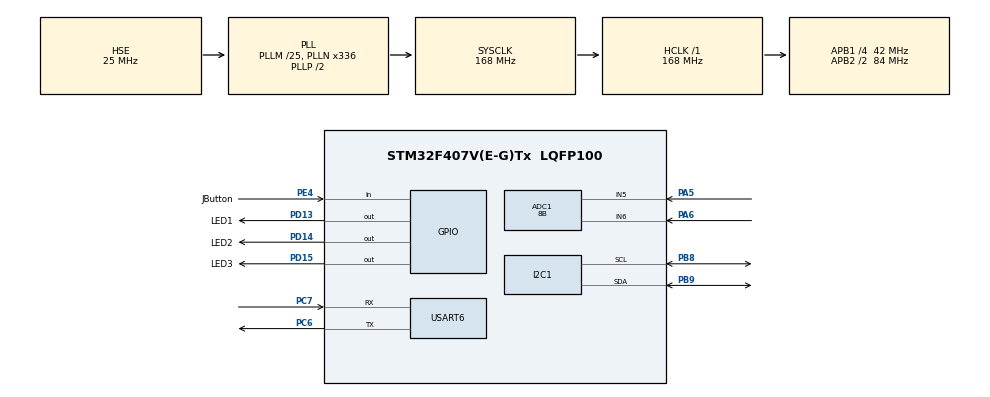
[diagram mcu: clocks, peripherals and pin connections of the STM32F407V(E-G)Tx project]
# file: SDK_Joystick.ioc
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ADC1.Channel-5\#ChannelRegularConversion=ADC_CHANNEL_5
ADC1.Channel-6\#ChannelRegularConversion=ADC_CHANNEL_6
ADC1.ContinuousConvMode=ENABLE
ADC1.DMAContinuousRequests=ENABLE
ADC1.NbrOfConversion=2
ADC1.NbrOfConversionFlag=1
ADC1.Rank-5\#ChannelRegularConversion=1
ADC1.Rank-6\#ChannelRegularConversion=2
ADC1.Resolution=ADC_RESOLUTION_8B
ADC1.SamplingTime-5\#ChannelRegularConversion=ADC_SAMPLETIME_480CYCLES
ADC1.SamplingTime-6\#ChannelRegularConversion=ADC_SAMPLETIME_480CYCLES
ADC1.ScanConvMode=ENABLE
ADC1.master=1
Dma.ADC1.0.Direction=DMA_PERIPH_TO_MEMORY
Dma.ADC1.0.FIFOMode=DMA_FIFOMODE_DISABLE
Dma.ADC1.0.Instance=DMA2_Stream0
Dma.ADC1.0.MemDataAlignment=DMA_MDATAALIGN_WORD
Dma.ADC1.0.MemInc=DMA_MINC_ENABLE
Dma.ADC1.0.Mode=DMA_CIRCULAR
Dma.ADC1.0.PeriphDataAlignment=DMA_PDATAALIGN_WORD
Dma.ADC1.0.PeriphInc=DMA_PINC_DISABLE
Dma.ADC1.0.Priority=DMA_PRIORITY_LOW
Dma.Request0=ADC1
I2C1.I2C_Mode=I2C_Fast
Mcu.Family=STM32F4
Mcu.Name=STM32F407V(E-G)Tx
Mcu.Package=LQFP100
NVIC.DMA2_Stream0_IRQn=true\:0\:0\:false\:false\:true\:false\:true
NVIC.PriorityGroup=NVIC_PRIORITYGROUP_4
PA13.Mode=JTAG_5_pins
PA13.Signal=SYS_JTMS-SWDIO
PA14.Mode=JTAG_5_pins
PA14.Signal=SYS_JTCK-SWCLK
PA15.Mode=JTAG_5_pins
PA15.Signal=SYS_JTDI
PA5.Signal=ADCx_IN5
PA6.Signal=ADCx_IN6
PB3.Mode=JTAG_5_pins
PB3.Signal=SYS_JTDO-SWO
PB4.Mode=JTAG_5_pins
PB4.Signal=SYS_JTRST
PB8.Mode=I2C
PB8.Signal=I2C1_SCL
PB9.Mode=I2C
PB9.Signal=I2C1_SDA
PC6.Mode=Asynchronous
PC6.Signal=USART6_TX
PC7.Mode=Asynchronous
PC7.Signal=USART6_RX
PD13.GPIO_Label=LED1
PD13.Signal=GPIO_Output
PD14.GPIO_Label=LED2
PD14.Signal=GPIO_Output
PD15.GPIO_Label=LED3
PD15.Signal=GPIO_Output
PE4.GPIO_Label=JButton
PE4.Signal=GPIO_Input
PH0-OSC_IN.Mode=HSE-External-Oscillator
PH0-OSC_IN.Signal=RCC_OSC_IN
PH1-OSC_OUT.Mode=HSE-External-Oscillator
PH1-OSC_OUT.Signal=RCC_OSC_OUT
ProjectManager.HeapSize=0x200
ProjectManager.StackSize=0x400
ProjectManager.TargetToolchain=SW4STM32
RCC.48MHZClocksFreq_Value=84000000
RCC.AHBFreq_Value=168000000
RCC.APB1CLKDivider=RCC_HCLK_DIV4
RCC.APB1Freq_Value=42000000
RCC.APB1TimFreq_Value=84000000
RCC.APB2CLKDivider=RCC_HCLK_DIV2
RCC.APB2Freq_Value=84000000
RCC.APB2TimFreq_Value=168000000
RCC.CortexFreq_Value=168000000
RCC.HCLKFreq_Value=168000000
RCC.HSE_VALUE=25000000
RCC.HSI_VALUE=16000000
RCC.LSE_VALUE=32768
RCC.PLLM=25
RCC.PLLN=336
RCC.PLLSourceVirtual=RCC_PLLSOURCE_HSE
RCC.SYSCLKFreq_VALUE=168000000
RCC.SYSCLKSource=RCC_SYSCLKSOURCE_PLLCLK
RCC.VCOOutputFreq_Value=336000000
SH.ADCx_IN5.0=ADC1_IN5,IN5
SH.ADCx_IN6.0=ADC1_IN6,IN6
USART6.VirtualMode=VM_ASYNC
board=custom

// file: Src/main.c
/* USER CODE BEGIN Header */
/**
  ******************************************************************************
  * @file           : main.c
  * @brief          : Main program body
  ******************************************************************************
  * @attention
  *
  * <h2><center>&copy; Copyright (c) 2019 STMicroelectronics.
  * All rights reserved.</center></h2>
  *
  * This software component is licensed by ST under BSD 3-Clause license,
  * the "License"; You may not use this file except in compliance with the
  * License. You may obtain a copy of the License at:
  *                        opensource.org/licenses/BSD-3-Clause
  *
  ******************************************************************************
  */
/* USER CODE END Header */

#include "main.h"
#include "adc.h"
#include "dma.h"
#include "i2c.h"
#include "usart.h"
#include "gpio.h"

/* USER CODE BEGIN Includes */
#include "oled.h"
#include "fonts.h"
/* USER CODE END Includes */

void SystemClock_Config(void);

int main(void)
{
  /* USER CODE BEGIN 1 */
	int XY[2];
	uint8_t x = 63;
	uint8_t y = 31;
  /* USER CODE END 1 */

  /* MCU Configuration--------------------------------------------------------*/

  /* Reset of all peripherals, Initializes the Flash interface and the Systick. */
  HAL_Init();

  /* Configure the system clock */
  SystemClock_Config();

  /* Initialize all configured peripherals */
  MX_GPIO_Init();
  MX_DMA_Init();
  MX_ADC1_Init();
  MX_USART6_UART_Init();
  MX_I2C1_Init();
  /* USER CODE BEGIN 2 */
  oled_Init();
  /* USER CODE END 2 */

  /* Infinite loop */
  /* USER CODE BEGIN WHILE */
  while (1)
  {

	  HAL_ADC_Start_DMA(&hadc1, XY, 2);

	  if((XY[0] <= 255) && (XY[0] >= 245)){
		  if(y == 1)
			  y = 1; else y--;
	  }

	  if((XY[0] <= 10) && (XY[0] >= 0)){
		  if(y >= 63)
			  y = 63; else y++;
	  }

	  if((XY[1] <= 10) && (XY[1] >= 0)){
		  if(x >= 127)
			  x = 127; else x++;
	  }

	  if((XY[1] <= 200) && (XY[1] >= 180)){
		  if(x == 1)
			  x = 1; else x--;
	  }
	  oled_DrawPixel(x,y, White);
	  oled_UpdateScreen();
	  HAL_Delay(10);

    /* USER CODE END WHILE */

  }
}

void SystemClock_Config(void)
{
  RCC_OscInitTypeDef RCC_OscInitStruct = {0};
  RCC_ClkInitTypeDef RCC_ClkInitStruct = {0};

  /** Configure the main internal regulator output voltage
  */
  __HAL_RCC_PWR_CLK_ENABLE();
  __HAL_PWR_VOLTAGESCALING_CONFIG(PWR_REGULATOR_VOLTAGE_SCALE1);
  /** Initializes the CPU, AHB and APB busses clocks
  */
  RCC_OscInitStruct.OscillatorType = RCC_OSCILLATORTYPE_HSE;
  RCC_OscInitStruct.HSEState = RCC_HSE_ON;
  RCC_OscInitStruct.PLL.PLLState = RCC_PLL_ON;
  RCC_OscInitStruct.PLL.PLLSource = RCC_PLLSOURCE_HSE;
  RCC_OscInitStruct.PLL.PLLM = 25;
  RCC_OscInitStruct.PLL.PLLN = 336;
  RCC_OscInitStruct.PLL.PLLP = RCC_PLLP_DIV2;
  RCC_OscInitStruct.PLL.PLLQ = 4;
  if (HAL_RCC_OscConfig(&RCC_OscInitStruct) != HAL_OK)
  {
    Error_Handler();
  }
  /** Initializes the CPU, AHB and APB busses clocks
  */
  RCC_ClkInitStruct.ClockType = RCC_CLOCKTYPE_HCLK|RCC_CLOCKTYPE_SYSCLK
                              |RCC_CLOCKTYPE_PCLK1|RCC_CLOCKTYPE_PCLK2;
  RCC_ClkInitStruct.SYSCLKSource = RCC_SYSCLKSOURCE_PLLCLK;
  RCC_ClkInitStruct.AHBCLKDivider = RCC_SYSCLK_DIV1;
  RCC_ClkInitStruct.APB1CLKDivider = RCC_HCLK_DIV4;
  RCC_ClkInitStruct.APB2CLKDivider = RCC_HCLK_DIV2;

  if (HAL_RCC_ClockConfig(&RCC_ClkInitStruct, FLASH_LATENCY_5) != HAL_OK)
  {
    Error_Handler();
  }
}

void Error_Handler(void)
{
}

/************************ (C) COPYRIGHT STMicroelectronics *****END OF FILE****/
